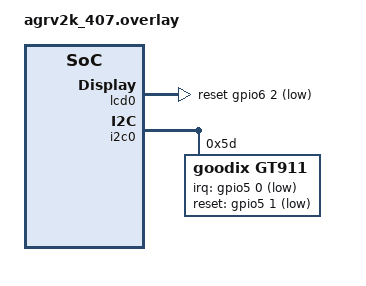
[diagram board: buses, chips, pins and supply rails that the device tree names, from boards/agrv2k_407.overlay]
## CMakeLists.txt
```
# SPDX-License-Identifier: Apache-2.0

cmake_minimum_required(VERSION 3.28.0)

find_package(Zephyr REQUIRED HINTS $ENV{ZEPHYR_BASE})
project(lcd_40pin LANGUAGES C)

target_sources(app PRIVATE src/main.c)
```

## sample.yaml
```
# SPDX-License-Identifier: Apache-2.0
sample:
  name: lcd_40pin
  description: |
    40-pin LCD adapter (FPC4301MS-L190-40C-9A / HX8369A 480x800) on a
    bit-banged 16-bit 8080 bus. The adapter's pins are routed to GPIO banks by
    the fabric, so this sample carries its own pin list and needs a bitstream
    built from it -- hence build_only. See the the development notes (not published here).
tests:
  sample.lcd_40pin.agm_agrv2k_407:
    build_only: true
    platform_allow:
      - agrv2k_407
    integration_platforms:
      - agrv2k_407
    tags:
      - ci_build
      - hal_ag32
```

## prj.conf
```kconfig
# SPDX-License-Identifier: Apache-2.0
#
# Console + GPIO only: the 8080 bus is bit-banged, and the pin map is the
# sample's board overlay. See samples/hello_world/prj.conf for why CONFIG_XIP.

CONFIG_CONSOLE=y
CONFIG_UART_CONSOLE=y
CONFIG_SERIAL=y
CONFIG_UART_AGM=y

CONFIG_GPIO=y
CONFIG_GPIO_STELLARIS=y

CONFIG_I2C=y
CONFIG_I2C_AGM=y

# Capacitive touch on the adapter (GT911); selects INPUT + INPUT_TOUCH.
CONFIG_INPUT=y
CONFIG_INPUT_GT911=y

CONFIG_PRINTK=y
CONFIG_STDOUT_CONSOLE=y

CONFIG_XIP=y
```

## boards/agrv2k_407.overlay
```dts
/*  SPDX-License-Identifier: Apache-2.0 */
/*
 * lcd_40pin — pin map for the 40-pin adapter (`转接板`) that carries the
 * FPC4301MS-L190-40C-9A LCM (HX8369A, 480x800) on a 16-bit 8080 bus plus a
 * SPI-ish resistive-touch section.
 *
 * Everything the LCD needs is plain GPIO: the AgRV2K has no LCD controller,
 * so the fabric only has to route each adapter pin to a GPIO bit (the GPIOb_n
 * functions have no AFSEL bit, so they carry no `agm,pins` cell -- this pin
 * list is what board.ve is rendered from, see the board.ve notes).
 *
 * The pin numbers below are a *proposal*: it is the only thing this sample
 * cannot derive from the adapter's pin list. Rebuild the bitstream after
 * changing them (`west build -t logic`), and keep the LCD node in step.
 * Console UART0 stays where the board has it (PIN_69/68).
 */

&agrv2k_pins {
	mcu-functions =
		/* console: the sample prints PASS/FAIL over it */
		"UART0_UARTRXD",
		"UART0_UARTTXD",

		/* DB0..DB15 -> GPIO1 bits 0..7, GPIO2 bits 0..7
		 * (pins from the dev board wiring table, 2026-09-16) */
		"GPIO1_0", "GPIO1_1", "GPIO1_2", "GPIO1_3",
		"GPIO1_4", "GPIO1_5", "GPIO1_6", "GPIO1_7",
		"GPIO2_0", "GPIO2_1", "GPIO2_2", "GPIO2_3",
		"GPIO2_4", "GPIO2_5", "GPIO2_6", "GPIO2_7",

		/* control: CS / RS(DC) / WR / RD -> GPIO3 bits 0..3
		 * (bits 4/5 of bank 3 are the I2C0 AF rows below) */
		"GPIO3_0", "GPIO3_1", "GPIO3_2", "GPIO3_3",

		/* RST / BL_CTR -> GPIO6 bits 2/4 */
		"GPIO6_2", "GPIO6_4",

		/* capacitive touch (GT911) on I2C0 + its INT/RST */
		"I2C0_SDA", "I2C0_SCL",
		"GPIO5_0", "GPIO5_1";
	mcu-pins =
		<69>, <68>,
		<25>, <26>, <29>, <30>, <31>, <32>, <33>, <34>,
		<35>, <36>, <38>, <39>, <40>, <41>, <91>, <1>,
		<15>, <16>, <17>, <18>,
		<23>,
		<89>,
		<3>, <2>,
		<4>, <5>;

	/* the adapter's CTP needs the usual I2C pull-ups */
	agm,pull-ups = <2>, <3>;
};

&{/} {
	lcd0: lcd-8080 {
		compatible = "agm,lcd-8080";

		/* DB0..DB15: low bit first (GPIO1_PIN0..7 then GPIO2_PIN0..7) */
		data-gpios =
			<&gpio1 0 GPIO_ACTIVE_HIGH>, <&gpio1 1 GPIO_ACTIVE_HIGH>,
			<&gpio1 2 GPIO_ACTIVE_HIGH>, <&gpio1 3 GPIO_ACTIVE_HIGH>,
			<&gpio1 4 GPIO_ACTIVE_HIGH>, <&gpio1 5 GPIO_ACTIVE_HIGH>,
			<&gpio1 6 GPIO_ACTIVE_HIGH>, <&gpio1 7 GPIO_ACTIVE_HIGH>,
			<&gpio2 0 GPIO_ACTIVE_HIGH>, <&gpio2 1 GPIO_ACTIVE_HIGH>,
			<&gpio2 2 GPIO_ACTIVE_HIGH>, <&gpio2 3 GPIO_ACTIVE_HIGH>,
			<&gpio2 4 GPIO_ACTIVE_HIGH>, <&gpio2 5 GPIO_ACTIVE_HIGH>,
			<&gpio2 6 GPIO_ACTIVE_HIGH>, <&gpio2 7 GPIO_ACTIVE_HIGH>;

		cs-gpios = <&gpio3 0 GPIO_ACTIVE_LOW>;
		rs-gpios = <&gpio3 1 GPIO_ACTIVE_HIGH>;
		wr-gpios = <&gpio3 2 GPIO_ACTIVE_LOW>;
		rd-gpios = <&gpio3 3 GPIO_ACTIVE_LOW>;
		reset-gpios = <&gpio6 2 GPIO_ACTIVE_LOW>;
		backlight-gpios = <&gpio6 4 GPIO_ACTIVE_HIGH>;
	};
};

/*
 * Capacitive touch: GT911 on the adapter (I2C, addr 0x5D) with its own INT
 * and reset lines. Zephyr's goodix,gt911 driver is upstream -- nothing
 * sample-specific. (The resistive variant of this adapter instead exposes
 * T_CLK/T_MOSI/RT_MISO/T_CS/T_PEN/RT_BUSY, which this sample does not wire.)
 */
&i2c0 {
	status = "okay";

	gt911: touch@5d {
		compatible = "goodix,gt911";
		reg = <0x5d>;
		irq-gpios = <&gpio5 0 GPIO_ACTIVE_LOW>;
		reset-gpios = <&gpio5 1 GPIO_ACTIVE_LOW>;
	};
};

/*
 * Only the banks this sample drives: the board enables gpio4 (LEDs) and
 * gpio6 (buttons). Enabling a bank is also what opens its APB clock
 * (soc.c::AGM_GATE_GPIO_BANK walks the status=okay GPIO nodes), so a bank
 * used here must be listed even though the fabric owns the pin routing.
 */
&gpio1 {
	status = "okay";
};

&gpio2 {
	status = "okay";
};

&gpio3 {
	status = "okay";
};

&gpio5 {
	status = "okay";
};

&gpio6 {
	status = "okay";
};
```

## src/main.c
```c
/*
 * Copyright (c) 2026 AgRV Contributors
 * SPDX-License-Identifier: Apache-2.0
 *
 * 40-pin LCD adapter board (FPC4301MS-L190-40C-9A / HX8369A, 480x800) on the
 * AgRV2K: 16-bit 8080 bus bit-banged from GPIOs + backlight.
 *
 * First bring-up revision. It drives the bus, runs the part of the panel
 * init that the vendor's own C51 example starts with, and paints colour
 * bands. What it deliberately does NOT do yet:
 *   - the vendor's full register sequence (gamma/power tables, from
 *     LCM/C51调试例程/8369A_LG4.3 MCU 16bit ...c),
 *   - any read-back of the panel ID (needs the RD path + tri-stating DB,
 *     which the stellaris GPIO driver can do but which is untested here),
 *   - the touch section of the adapter (T_CLK/T_MOSI/RT_MISO/T_CS/T_PEN/
 *     RT_BUSY are routed in the pin map, nothing drives them yet).
 * See samples/lcd_40pin/README.rst and the the development notes (not published here).
 */

#include <zephyr/device.h>
#include <zephyr/devicetree.h>
#include <zephyr/drivers/gpio.h>
#include <zephyr/kernel.h>
#include <zephyr/sys/util_macro.h>

#include "hx8369a_init.h"

#define LCD_NODE DT_NODELABEL(lcd0)
#define DATA_PINS DT_PROP_LEN(LCD_NODE, data_gpios)

#define DATA_SPEC(i) GPIO_DT_SPEC_GET_BY_IDX(LCD_NODE, data_gpios, i)

static const struct gpio_dt_spec cs_pin = GPIO_DT_SPEC_GET(LCD_NODE, cs_gpios);
static const struct gpio_dt_spec rs_pin = GPIO_DT_SPEC_GET(LCD_NODE, rs_gpios);
static const struct gpio_dt_spec wr_pin = GPIO_DT_SPEC_GET(LCD_NODE, wr_gpios);
static const struct gpio_dt_spec rd_pin = GPIO_DT_SPEC_GET(LCD_NODE, rd_gpios);
static const struct gpio_dt_spec rst_pin =
	GPIO_DT_SPEC_GET(LCD_NODE, reset_gpios);
static const struct gpio_dt_spec bl_pin =
	GPIO_DT_SPEC_GET_OR(LCD_NODE, backlight_gpios, {0});

/* Panel geometry is a datasheet constant here, not a read-back (TODO). */
#define PANEL_WIDTH   480U     /* panel width  */
#define PANEL_HEIGHT  800U     /* panel height */
#define PANEL_X_OFF   0        /* shift the window by N columns (0 = raw)     */
#define PANEL_MIRROR  0        /* 1 = emit CASET reversed (mirror-like swap)  */
/* The visible area of this 480x800 module does not start at row 0 of the
 * controller's frame memory: y must be offset by 20 (the reference driver
 * carries the same value in its commented-out esp_lcd_panel_set_gap(0, 20)).
 * Without it the image sits 20 rows low and a black bar shows at the top. */
#define LCD_Y_GAP 0U

/* HX8369A command set, as used by the vendor's C51 example. */
#define HX_SWRESET 0x01
#define HX_SLPOUT 0x11
#define HX_DISPON 0x29
#define HX_CASET 0x2A
#define HX_PASET 0x2B
#define HX_RAMWR 0x2C
#define HX_COLMOD 0x3A
#define HX_EXTC 0xB9

/* Register readback without a debugger: the SoC's APB clock gate register
 * and the GPIO blocks this sample drives. AGM_APB_CLK_GPIO(n) = 1 << (4 + n),
 * so gpio1/2/3/5/6 show up as 0x7e0 (plus gpio4 = bit 8 for the board LEDs). */
#define REG_APB_CLKENABLE 0x03000060U
#define REG_GPIO_DIR(n)   (0x40014000U + (n) * 0x1000U + 0x400U)
/* The stellaris/TM4C GPIO block is *mask-addressed*: the low address bits
 * select which byte lanes are touched, so the whole-port read lives at
 * DATA + (0xff << 2) = +0x3fc. Reading plain +0x000 reads "no lane
 * selected" and always returns 0 -- which is what made the first
 * self-check print DATA=00 for a port that had just been driven to 0xf8. */
#define REG_GPIO_DATA(n)  (0x40014000U + (n) * 0x1000U + 0x3FCU)
#define REG_GPIO_AFSEL(n) (0x40014000U + (n) * 0x1000U + 0x420U)

static uint32_t rd(uint32_t addr)
{
	return *(volatile uint32_t *)addr;
}

/* The panel is driven in **8-bit** MCU mode (IM[2:0] = 100): the working
 * ESP-IDF reference for this module creates an i80 bus with `.bus_width = 8`
 * and only DATA0..DATA7, like the vendor's own "MCU 8bit, select DB0-7" C51
 * example. Commands, parameters and each half of an RGB565 pixel go out as
 * one byte on DB0..DB7; DB8..DB15 stay unused (they are still routed, so the
 * pin map does not have to change if 16-bit mode is ever needed). */
BUILD_ASSERT(DATA_PINS >= 8, "the 8080 bus needs at least DB0..DB7");
#define BUS_BITS 8

/* Fast path: the stellaris GPIO block is mask-addressed, so one store to
 * DATA + (mask << 2) writes all eight data lines / the four control lines at
 * once, instead of ~15 gpio_pin_set_dt() calls per byte. */
#define GPIO1_BASE 0x40015000U          /* DB0..DB7   */
#define GPIO3_BASE 0x40017000U          /* CS RS WR RD */
#define REG_MASK(base, mask) (*(volatile uint32_t *)((base) + 0x000U + ((mask) << 2)))
#define CTRL_CS  (1U << 0)              /* raw pin levels (active low) */
#define CTRL_RS  (1U << 1)
#define CTRL_WR  (1U << 2)              /* high = idle */
#define CTRL_RD  (1U << 3)              /* high = idle */

static const struct gpio_dt_spec data_pins[] = {
	DATA_SPEC(0), DATA_SPEC(1), DATA_SPEC(2), DATA_SPEC(3),
	DATA_SPEC(4), DATA_SPEC(5), DATA_SPEC(6), DATA_SPEC(7),
	DATA_SPEC(8), DATA_SPEC(9), DATA_SPEC(10), DATA_SPEC(11),
	DATA_SPEC(12), DATA_SPEC(13), DATA_SPEC(14), DATA_SPEC(15),
};

/* 8080 timing is stretched by software; the panel tolerates tens of ns, and
 * the GPIO writes alone are far slower than that. */
static inline void bus_delay(void)
{
	k_busy_wait(1);
}

static void bus_write(bool is_data, uint8_t value)
{
	uint32_t ctrl = CTRL_RD | CTRL_WR;              /* RD/WR idle high */

	if (is_data) {
		ctrl |= CTRL_RS;
	}

	REG_MASK(GPIO1_BASE, 0xffU) = value;            /* data valid first */
	REG_MASK(GPIO3_BASE, 0x0fU) = ctrl;             /* CS low, WR high */
	REG_MASK(GPIO3_BASE, 0x0fU) = ctrl & ~CTRL_WR;  /* WR low, data already valid */
	__asm__ volatile("nop; nop; nop; nop");
	REG_MASK(GPIO3_BASE, 0x0fU) = ctrl;             /* WR high: latch */
	REG_MASK(GPIO3_BASE, 0x0fU) = ctrl | CTRL_CS;   /* CS high */
}

static void write_cmd(uint8_t cmd)
{
	bus_write(false, cmd);
}

static void write_data(uint8_t value)
{
	bus_write(true, value);
}




static void set_window(uint16_t x0, uint16_t y0, uint16_t x1, uint16_t y1)
{
	/*
	 * Plain window: CASET 0..width, PASET 0..height, plus the two knobs
	 * above. The 2026-09-16 dev board session measured a column order that did
	 * not match the frame memory (mirror-like and not monotonic) with only
	 * ~400 of the 480 driver columns visible; those two facts need
	 * re-checking on a known-good panel, so the default here stays raw.
	 */
	x0 += PANEL_X_OFF;
	x1 += PANEL_X_OFF;
	if (PANEL_MIRROR) {
		uint16_t t0 = (uint16_t)(479U - x1), t1 = (uint16_t)(479U - x0);

		x0 = t0;
		x1 = t1;
	}
	write_cmd(HX_CASET);
	write_data(x0 >> 8);
	write_data(x0 & 0xff);
	write_data(x1 >> 8);
	write_data(x1 & 0xff);
	write_cmd(HX_PASET);
	write_data(y0 >> 8);
	write_data(y0 & 0xff);
	write_data(y1 >> 8);
	write_data(y1 & 0xff);
	write_cmd(HX_RAMWR);
}

/* Test image: white 1-px frame, red verticals 20 columns inside the left and
 * right edges, green horizontals 20 rows inside the top and bottom edges. */
static void pattern_ruler(void)
{
	for (uint16_t y = 0; y < PANEL_HEIGHT; y++) {
		set_window(0, y, PANEL_WIDTH - 1U, y);
		for (uint16_t x = 0; x < PANEL_WIDTH; x++) {
			uint16_t c = 0x001F;

			if (y == 0U || y == PANEL_HEIGHT - 1U ||
			    x == 0U || x == PANEL_WIDTH - 1U) {
				c = 0xFFFF;
			} else if (x == 20U || x == PANEL_WIDTH - 21U) {
				c = 0xF800;
			} else if (y == 20U || y == PANEL_HEIGHT - 21U) {
				c = 0x07E0;
			}
			write_data(c >> 8);
			write_data(c & 0xff);
		}
	}
	printk("lcd_40pin: ruler painted (white frame, red verticals, "
	       "green horizontals)\n");
}


/* --- 8080-side "hram_test" equivalents --------------------------------- */
#define GPIO1_DIR_MASK(mask)  (*(volatile uint32_t *)(GPIO1_BASE + 0x400U + ((mask) << 2)))
#define DB_AS_OUTPUT() (GPIO1_DIR_MASK(0xffU) = 0xffU)
#define DB_AS_INPUT()  (GPIO1_DIR_MASK(0xffU) = 0x00U)

/* One byte from the panel: CS low, RS=1, WR high, RD low (asserted). */
static uint8_t bus_read_byte(void)
{
	uint8_t v;

	REG_MASK(GPIO3_BASE, 0x0fU) = CTRL_RS | CTRL_WR;            /* RD low */
	__asm__ volatile("nop; nop; nop; nop");
	v = (uint8_t)REG_MASK(GPIO1_BASE, 0xffU);
	REG_MASK(GPIO3_BASE, 0x0fU) = CTRL_RS | CTRL_WR | CTRL_RD;  /* RD idle */
	REG_MASK(GPIO3_BASE, 0x0fU) = CTRL_RS | CTRL_WR | CTRL_RD | CTRL_CS;
	return v;
}

/* Values the controller must answer on its own (HX8369A). */
static void panel_selftest(void)
{
	uint8_t id[4], st[5];

	write_cmd(0x04);                        /* RDDID */
	DB_AS_INPUT();
	for (int i = 0; i < 4; i++) {
		id[i] = bus_read_byte();
	}
	DB_AS_OUTPUT();
	printk("lcd_40pin: RDDID = %02x %02x %02x %02x (dummy,ID1..ID3)\n",
	       id[0], id[1], id[2], id[3]);

	write_cmd(0x09);                        /* RDDST */
	DB_AS_INPUT();
	for (int i = 0; i < 5; i++) {
		st[i] = bus_read_byte();
	}
	DB_AS_OUTPUT();
	printk("lcd_40pin: RDDST = %02x %02x %02x %02x %02x\n",
	       st[0], st[1], st[2], st[3], st[4]);
}

/* Write an incrementing pattern into a window, read it back with 0x2E and
 * compare -- the 8080 equivalent of hram_test's pattern test. */
static void gram_memtest(void)
{
	const uint16_t W = 64U, H = 64U;
	uint32_t bad = 0U, t0;
	uint16_t n = 0U;

	set_window(0, 0, W - 1U, H - 1U);
	DB_AS_OUTPUT();
	for (uint16_t y = 0U; y < H; y++) {
		for (uint16_t x = 0U; x < W; x++) {
			uint16_t v = (uint16_t)(0x1000U + n++);

			write_data(v >> 8);
			write_data(v & 0xff);
		}
	}

	set_window(0, 0, W - 1U, H - 1U);
	write_cmd(0x2E);                        /* RAMRD */
	t0 = k_cycle_get_32();
	DB_AS_INPUT();
	n = 0U;
	for (uint16_t y = 0U; y < H; y++) {
		for (uint16_t x = 0U; x < W; x++) {
			uint16_t want = (uint16_t)(0x1000U + n++);
			uint8_t hi = bus_read_byte();
			uint8_t lo = bus_read_byte();

			if ((((uint16_t)hi << 8) | lo) != want) {
				bad++;
			}
		}
	}
	DB_AS_OUTPUT();
	printk("lcd_40pin: GRAM memtest %ux%u: %s (%u mismatch) in %u ms\n",
	       W, H, bad ? "FAIL" : "PASS", (unsigned)bad,
	       (unsigned)((k_cycle_get_32() - t0) / (sys_clock_hw_cycles_per_sec() / 1000U)));
}

/* Leftover check: after wiping the frame memory, read a region we did not
 * write -- anything non-zero there is stale content from an earlier run. */
static void leftover_check(void)
{
	uint32_t t0 = k_cycle_get_32();
	uint8_t v;

	set_window(0, 0, 479, 863);
	DB_AS_OUTPUT();
	for (uint32_t i = 0; i < 480U * 864U; i++) {
		write_data(0x00);
		write_data(0x00);
	}
	printk("lcd_40pin: GRAM wipe %u ms (%u KB/s)\n",
	       (unsigned)((k_cycle_get_32() - t0) / (sys_clock_hw_cycles_per_sec() / 1000U)),
	       (unsigned)((480U * 864U * 2U) /
	                  ((k_cycle_get_32() - t0) / (sys_clock_hw_cycles_per_sec() / 1000U) + 1U)));

	set_window(400, 800, 440, 840);         /* outside the visible 800 rows */
	write_cmd(0x2E);
	DB_AS_INPUT();
	v = bus_read_byte();
	DB_AS_OUTPUT();
	printk("lcd_40pin: leftover probe at (400,800) = %02x (expect 00)\n", v);
}



static int configure_output(const struct gpio_dt_spec *spec, const char *name)
{
	if (!gpio_is_ready_dt(spec)) {
		printk("lcd_40pin: %s: gpio controller not ready\n", name);
		return -ENODEV;
	}
	return gpio_pin_configure_dt(spec, GPIO_OUTPUT_INACTIVE);
}




/* Mapping probe: black field with one red 8-column bar at each end of the
 * nominal 480 columns (raw coordinates: 0x36=0x00, no mirror, no offset).
 * Where those two bars appear on the glass gives the visible window, the
 * offset and the column order in one look. */

/* Mapping probe, 8-column granularity: 60 groups of 8 columns, six colours
 * cycling (red, green, blue, yellow, magenta, cyan). Reporting the first
 * three colours from the left gives the visible-window start and the column
 * order in one look: red/green/blue = not mirrored starting at 0;
 * cyan/magenta/yellow = mirrored, starting at the far end. */





int main(void)
{
	int rc;

	printk("lcd_40pin: 40-pin adapter -> HX8369A 480x800, %d-bit 8080 bus "
	       "(%d data lines routed)\n", BUS_BITS, DATA_PINS);

	rc = configure_output(&rst_pin, "reset");
	rc |= configure_output(&cs_pin, "cs");
	rc |= configure_output(&rs_pin, "rs");
	rc |= configure_output(&wr_pin, "wr");
	rc |= configure_output(&rd_pin, "rd");
	for (int i = 0; i < DATA_PINS; i++) {
		rc |= configure_output(&data_pins[i], "db");
	}
	if (bl_pin.port != NULL) {
		rc |= configure_output(&bl_pin, "backlight");
	}
	if (rc != 0) {
		printk("lcd_40pin: RESULT: FAIL (gpio setup, rc=%d)\n", rc);
		return rc;
	}

	printk("lcd_40pin: APB_CLKENABLE=%08x (gpio1/2/3/5/6 want 0x7e0)\n",
	       rd(REG_APB_CLKENABLE));
	/* Self-check the write path inside the SoC: drive DB0..DB7 = 0xF8 and
	 * read the GPIO block's DATA register back. If this prints f8, the SoC
	 * really is driving the data lines and any remaining doubt is outside
	 * the chip (harness / adapter / panel). */
	for (int i = 0; i < BUS_BITS; i++) {
		gpio_pin_set_dt(&data_pins[i], (0xF8 >> i) & 0x1);
	}
	printk("lcd_40pin: DB self-check: gpio1 DATA=%02x (want f8)\n",
	       rd(REG_GPIO_DATA(1)));
	for (int b = 1; b <= 6; b++) {
		if (b == 4) {
			continue;               /* the board's LED bank, not ours */
		}
		printk("lcd_40pin: gpio%d DIR=%02x DATA=%02x AFSEL=%02x\n", b,
		       rd(REG_GPIO_DIR(b)), rd(REG_GPIO_DATA(b)),
		       rd(REG_GPIO_AFSEL(b)));
	}

	/* Reset pulse, then the head of the vendor sequence. */
	gpio_pin_set_dt(&rst_pin, 1);           /* assert reset (active low) */
	/* 10 ms is plenty for the panel; drive it low for a second instead if
	 * you want to verify the reset line with a multimeter. */
	k_msleep(10);
	gpio_pin_set_dt(&rst_pin, 0);           /* release */
	k_msleep(120);

	/* The vendor's own sequence: EXTC unlock, power, panel timing, gamma
	 * (transcribed in src/hx8369a_init.h). Without it the panel stays
	 * blank -- backlight only, which is what the first revision showed. */
	for (unsigned i = 0; i < ARRAY_SIZE(hx8369a_init); i++) {
		const struct hx_cmd *c = &hx8369a_init[i];

		write_cmd(c->cmd);
		for (unsigned j = 0; j < c->len; j++) {
			write_data(c->data[j]);
		}
		if (c->delay_ms) {              /* vendor settle times (SLPOUT) */
			k_msleep(c->delay_ms);
		}
	}
	write_cmd(0x29);                        /* DISPON: the reference driver
						 * sends it from display_on() */
	k_msleep(50);
	printk("lcd_40pin: vendor init sequence written (%d commands)\n",
	       (int)ARRAY_SIZE(hx8369a_init));

	/* read_id() disabled: it flips DB directions and leaves the bus contended */

	if (bl_pin.port != NULL) {
		gpio_pin_set_dt(&bl_pin, 1);
	}

	panel_selftest();
	gram_memtest();
	leftover_check();
	pattern_ruler();              /* red */

	printk("lcd_40pin: touch: gt911 %s\n",
	       device_is_ready(DEVICE_DT_GET(DT_NODELABEL(gt911))) ? "ready"
								: "not ready");

	printk("lcd_40pin: NOTE: vendor full init sequence, panel ID read-back\n");
	printk("lcd_40pin:       and touch reporting are still to come\n");
	printk("lcd_40pin: RESULT: INCONCLUSIVE (needs eyes on the panel -- the\n");
	printk("lcd_40pin:       bands should have been visible; no read-back yet)\n");
	return 0;
}
```

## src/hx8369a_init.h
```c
/*
 * HX8369A init sequence, transcribed from the panel vendor's MCU 8-bit table
 *   $HOME/HX8369A+LG4.3 MCU 8BIT(1) (1).txt
 * (the newest of the three vendor tables: its 0xB1 power block differs from
 * both the C51 8-bit example and the ESP-IDF reference).
 */
#include <stdint.h>

struct hx_cmd {
	uint8_t cmd;
	uint16_t len;
	uint16_t delay_ms;
	uint8_t data[192];
};

static const struct hx_cmd hx8369a_init[] = {
	{ 0xb9, 3, 0, { 0xff, 0x83, 0x69 } },
	{ 0xb1, 19, 0, { 0x01, 0x00, 0x34, 0x06, 0x00, 0x0f, 0x0f, 0x2a, 0x32, 0x3f, 0x3f, 0x07, 0x23, 0x01, 0xe6, 0xe6, 0xe6, 0xe6, 0xe6 } },
	{ 0xb2, 15, 0, { 0x00, 0x20, 0x03, 0x03, 0x70, 0x00, 0xff, 0x00, 0x00, 0x00, 0x00, 0x03, 0x03, 0x00, 0x01 } },
	{ 0xb4, 5, 0, { 0x00, 0x0c, 0xa0, 0x0e, 0x06 } },
	{ 0xb6, 2, 0, { 0x2c, 0x2c } },
	{ 0xd5, 26, 0, { 0x00, 0x05, 0x03, 0x00, 0x01, 0x09, 0x10, 0x80, 0x37, 0x37, 0x20, 0x31, 0x46, 0x8a, 0x57, 0x9b, 0x20, 0x31, 0x46, 0x8a, 0x57, 0x9b, 0x07, 0x0f, 0x02, 0x00 } },
	{ 0xe0, 34, 0, { 0x00, 0x08, 0x0d, 0x2d, 0x34, 0x3f, 0x19, 0x38, 0x09, 0x0e, 0x0e, 0x12, 0x14, 0x12, 0x14, 0x13, 0x19, 0x00, 0x08, 0x0d, 0x2d, 0x34, 0x3f, 0x19, 0x38, 0x09, 0x0e, 0x0e, 0x12, 0x14, 0x12, 0x14, 0x13, 0x19 } },
	{ 0xc1, 127, 0, { 0x01, 0x02, 0x08, 0x12, 0x1a, 0x22, 0x2a, 0x31, 0x36, 0x3f, 0x48, 0x51, 0x58, 0x60, 0x68, 0x70, 0x78, 0x80, 0x88, 0x90, 0x98, 0xa0, 0xa7, 0xaf, 0xb6, 0xbe, 0xc7, 0xce, 0xd6, 0xde, 0xe6, 0xef, 0xf5, 0xfb, 0xfc, 0xfe, 0x8c, 0xa4, 0x19, 0xec, 0x1b, 0x4c, 0x40, 0x02, 0x08, 0x12, 0x1a, 0x22, 0x2a, 0x31, 0x36, 0x3f, 0x48, 0x51, 0x58, 0x60, 0x68, 0x70, 0x78, 0x80, 0x88, 0x90, 0x98, 0xa0, 0xa7, 0xaf, 0xb6, 0xbe, 0xc7, 0xce, 0xd6, 0xde, 0xe6, 0xef, 0xf5, 0xfb, 0xfc, 0xfe, 0x8c, 0xa4, 0x19, 0xec, 0x1b, 0x4c, 0x40, 0x02, 0x08, 0x12, 0x1a, 0x22, 0x2a, 0x31, 0x36, 0x3f, 0x48, 0x51, 0x58, 0x60, 0x68, 0x70, 0x78, 0x80, 0x88, 0x90, 0x98, 0xa0, 0xa7, 0xaf, 0xb6, 0xbe, 0xc7, 0xce, 0xd6, 0xde, 0xe6, 0xef, 0xf5, 0xfb, 0xfc, 0xfe, 0x8c, 0xa4, 0x19, 0xec, 0x1b, 0x4c, 0x40 } },
	{ 0x2d, 192, 0, { 0x00, 0x08, 0x10, 0x18, 0x20, 0x28, 0x30, 0x38, 0x40, 0x48, 0x50, 0x58, 0x60, 0x68, 0x70, 0x78, 0x80, 0x88, 0x90, 0x98, 0xa0, 0xa8, 0xb0, 0xb8, 0xc0, 0xc8, 0xd0, 0xd8, 0xe0, 0xe8, 0xf0, 0xf8, 0x00, 0x08, 0x10, 0x18, 0x20, 0x28, 0x30, 0x38, 0x40, 0x48, 0x50, 0x58, 0x60, 0x68, 0x70, 0x78, 0x80, 0x88, 0x90, 0x98, 0xa0, 0xa8, 0xb0, 0xb8, 0xc0, 0xc8, 0xd0, 0xd8, 0xe0, 0xe8, 0xf0, 0xf8, 0x00, 0x04, 0x08, 0x0c, 0x10, 0x14, 0x18, 0x1c, 0x20, 0x24, 0x28, 0x2c, 0x30, 0x34, 0x38, 0x3c, 0x40, 0x44, 0x48, 0x4c, 0x50, 0x54, 0x58, 0x5c, 0x60, 0x64, 0x68, 0x6c, 0x70, 0x74, 0x78, 0x7c, 0x80, 0x84, 0x88, 0x8c, 0x90, 0x94, 0x98, 0x9c, 0xa0, 0xa4, 0xa8, 0xac, 0xb0, 0xb4, 0xb8, 0xbc, 0xc0, 0xc4, 0xc8, 0xcc, 0xd0, 0xd4, 0xd8, 0xdc, 0xe0, 0xe4, 0xe8, 0xec, 0xf0, 0xf4, 0xf8, 0xfc, 0x00, 0x08, 0x10, 0x18, 0x20, 0x28, 0x30, 0x38, 0x40, 0x48, 0x50, 0x58, 0x60, 0x68, 0x70, 0x78, 0x80, 0x88, 0x90, 0x98, 0xa0, 0xa8, 0xb0, 0xb8, 0xc0, 0xc8, 0xd0, 0xd8, 0xe0, 0xe8, 0xf0, 0xf8, 0x00, 0x08, 0x10, 0x18, 0x20, 0x28, 0x30, 0x38, 0x40, 0x48, 0x50, 0x58, 0x60, 0x68, 0x70, 0x78, 0x80, 0x88, 0x90, 0x98, 0xa0, 0xa8, 0xb0, 0xb8, 0xc0, 0xc8, 0xd0, 0xd8, 0xe0, 0xe8, 0xf0, 0xf8 } },
	{ 0x3a, 1, 0, { 0x55 } },
	{ 0x11, 0, 120, {  } },
	{ 0x29, 0, 0, {  } },
	{ 0x2a, 4, 0, { 0x00, 0x00, 0x01, 0xdf } },
	{ 0x2b, 4, 0, { 0x00, 0x00, 0x03, 0x1f } },
	{ 0x2c, 0, 0, {  } },
};
```
